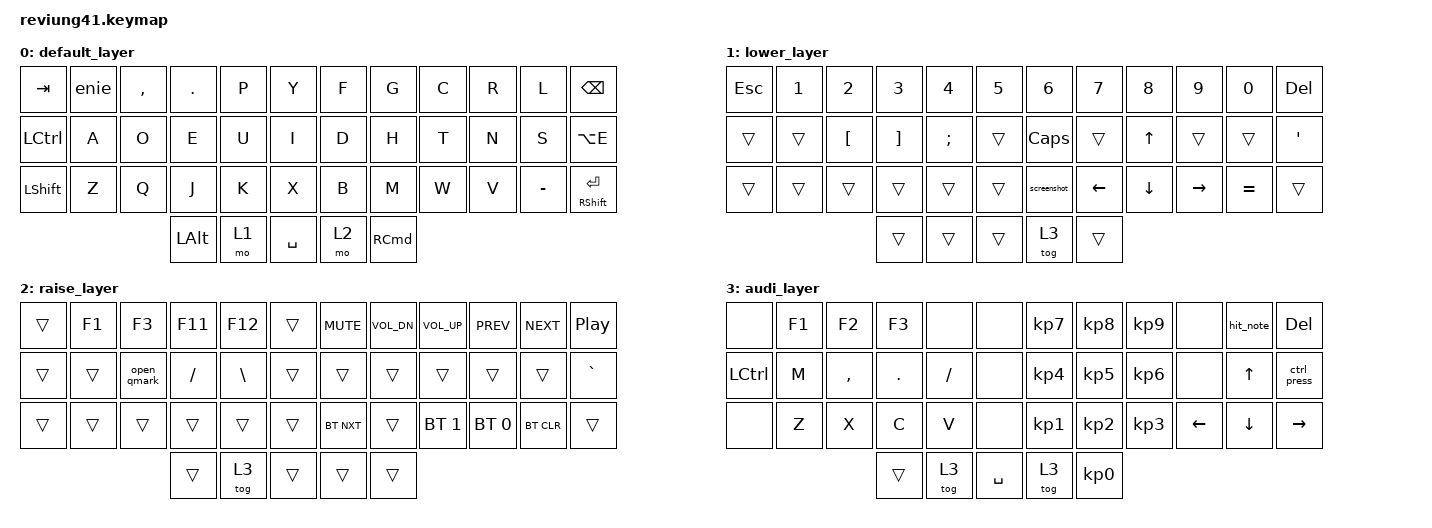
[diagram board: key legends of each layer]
/*
 * Copyright (c) 2020 The ZMK Contributors
 *
 * SPDX-License-Identifier: MIT
 */

#include <behaviors.dtsi>
#include <dt-bindings/zmk/keys.h>
#include <dt-bindings/zmk/bt.h>

#define DEFAULT 0
#define LOWER   1
#define RAISE   2
#define AUDI    3

/ {
    macros {
        enie: enie {
            label = "ZM_enie";
            compatible = "zmk,behavior-macro";
            #binding-cells = <0>;
            bindings
                = <&macro_tap &kp LA(N) &kp N>
                ;
        };
        screenshot: screenshot {
            label = "ZM_screenshot";
            compatible = "zmk,behavior-macro";
            #binding-cells = <0>;
            bindings
                = <&macro_press   &kp RCMD>
                , <&macro_tap     &kp LS(N5)>
                , <&macro_release &kp RCMD>
                ;
        };
        open_qmark: open_qmark {
            label = "ZM_open_qmark";
            compatible = "zmk,behavior-macro";
            #binding-cells = <0>;
            bindings
                = <&macro_press   &kp LALT>
                , <&macro_tap     &kp LS(FSLH)>
                , <&macro_release &kp LALT>
                ;
        };
        hit_note: hit_note {
            label = "ZM_hit_note";
            compatible = "zmk,behavior-macro";
            #binding-cells = <0>;
            bindings
                = <&macro_press   &kp LSHFT>
                , <&macro_tap &kp SPACE &kp UP>
                , <&macro_pause_for_release>
                , <&macro_release &kp LSHFT>
                ;
        };
        ctrl_press: ctrl_press {
            label = "ZM_ctrl_press";
            compatible = "zmk,behavior-macro";
            #binding-cells = <0>;
            bindings
                = <&macro_tap &kp LCTRL &kp RCTRL>
                , <&macro_tap &kp LCTRL &kp RCTRL>
                , <&macro_tap &kp LCTRL &kp RCTRL>
                , <&macro_tap &kp LCTRL &kp RCTRL>
                , <&macro_tap &kp LCTRL &kp RCTRL>
                , <&macro_tap &kp LCTRL &kp RCTRL>
                , <&macro_tap &kp LCTRL &kp RCTRL>
                , <&macro_tap &kp LCTRL &kp RCTRL>
                , <&macro_tap &kp LCTRL &kp RCTRL>
                , <&macro_tap &kp LCTRL &kp RCTRL>
                ;
        };
    };
};

/ {
        keymap {
                compatible = "zmk,keymap";

                default_layer {
// --------------------------------------------------------------------------------------
// |  TAB |  Ñ  |  ,  |  .  |  P  |  Y  |   |  F  |  G  |  C  |  R  |  L  |    BKSP     |
// | CTRL |  A  |  O  |  E  |  U  |  I  |   |  D  |  H  |  T  |  N  |  S  |      ´      |
// | SHFT |  Z  |  Q  |  J  |  K  |  X  |   |  B  |  M  |  W  |  V  | - _ | SHFT(ENTER) |
//                         | ALT | LWR | SPC | RSE  | CMD |
                        bindings = <
   &kp TAB    &enie  &kp COMMA  &kp DOT  &kp P  &kp Y  &kp F  &kp G  &kp C  &kp R  &kp L      &kp BSPC
   &kp LCTRL  &kp A  &kp O      &kp E    &kp U  &kp I  &kp D  &kp H  &kp T  &kp N  &kp S      &kp LA(E)
   &kp LSHFT  &kp Z  &kp Q      &kp J    &kp K  &kp X  &kp B  &kp M  &kp W  &kp V  &kp MINUS  &mt RSHFT ENTER
                              &kp LALT  &mo 1  &kp SPACE  &mo 2  &kp RCMD
                        >;
                };

                lower_layer {
// -------------------------------------------------------------------------------
// | ESC | 1 ! | 2 @ | 3 # | 4 $ | 5 % |   | 6 ^  | 7 &  | 8 * | 9 ( | 0 ) | DEL |
// |     |     | [ { | ] } | ; : |     |   | CAPS |      | UP  |     |     | ' " |
// |     |     |     |     |     |     |   | PRSC | LFT  | DWN | RGT | = + |     |
//                        |     |     |     |      |      |
                        bindings = <
   &kp ESC  &kp N1  &kp N2    &kp N3    &kp N4    &kp N5  &kp N6       &kp N7    &kp N8    &kp N9     &kp N0     &kp DEL
   &trans   &trans  &kp LBKT  &kp RBKT  &kp SEMI  &trans  &kp CLCK     &trans    &kp UP    &trans     &trans     &kp SQT
   &trans   &trans  &trans    &trans    &trans    &trans  &screenshot  &kp LEFT  &kp DOWN  &kp RIGHT  &kp EQUAL  &trans
                                      &trans  &trans  &trans  &tog 3  &trans
                        >;
                };

                raise_layer {
// --------------------------------------------------------------------------------------
// |    | F1  | F3  | F11 | F12 |     |   |  MUTE  | VOL- | VOL+ | PREV |  NEXT  | PLAY |
// |    |     |  ¿  | / ? | \ | |     |   |        |      |      |      |        | ` ~  |
// |    |     |     |     |     |     |   | BT_NXT |      | BT1  | BT0  | BT CLR |      |
//                       |     |     |     |        |      |
                        bindings = <
   &trans  &kp F1  &kp F3       &kp F11   &kp F12   &trans  &kp C_MUTE  &kp C_VOL_DN  &kp C_VOL_UP  &kp C_PREV    &kp C_NEXT  &kp C_PP
   &trans  &trans  &open_qmark  &kp FSLH  &kp BSLH  &trans  &trans      &trans        &trans        &trans        &trans      &kp GRAVE
   &trans  &trans  &trans       &trans    &trans    &trans  &bt BT_NXT  &trans        &bt BT_SEL 1  &bt BT_SEL 0  &bt BT_CLR  &trans
                                       &trans  &tog 3  &trans  &trans  &trans
                        >;
                };

                audi_layer {
// ------------------------------------------------------------------------------
// |      | F1  | F2  | F3  |     |     |   |  7  |  8  |  9  |     | HIT | DEL  |
// | CTRL |  M  |  ;  |  :  |  _  |     |   |  4  |  5  |  6  |     | UP  | CTRL |
// |      |  Z  |  X  |  C  |  V  |     |   |  1  |  2  |  3  | LFT | DWN | RGT  |
//                         |     |     | SPC |     |  0  |
                        bindings = <
   &none     &kp F1 &kp F2    &kp F3  &none    &none    &kp KP_N7 &kp KP_N8 &kp KP_N9 &none     &hit_note &kp DEL
   &kp LCTRL &kp M  &kp COMMA &kp DOT &kp FSLH &none    &kp KP_N4 &kp KP_N5 &kp KP_N6 &none     &kp UP    &ctrl_press
   &none     &kp Z  &kp X     &kp C   &kp V    &none    &kp KP_N1 &kp KP_N2 &kp KP_N3 &kp LEFT  &kp DOWN  &kp RIGHT
            &trans      &tog 3       &kp SPACE       &tog 3      &kp KP_N0
                        >;
                };
        };
};
